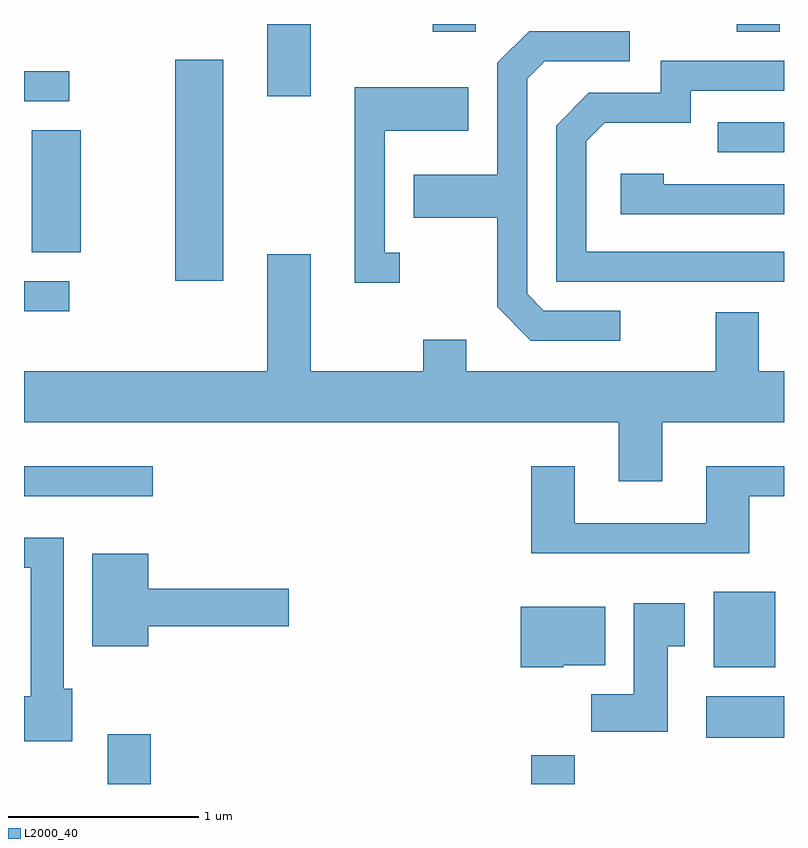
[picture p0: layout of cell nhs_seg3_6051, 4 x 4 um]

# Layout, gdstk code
import gdstk
lib = gdstk.Library(unit=1e-6, precision=1e-09)
def R(c, l, rs):  # rectangles x0, y0, x1, y1
    for r in rs: c.add(gdstk.rectangle(r[:2], r[2:], *l))
def P(c, l, *ps):  # polygons
    for p in ps: c.add(gdstk.Polygon(p, *l))
L2000_40 = (2000, 40)

nhs_seg3_6051 = lib.new_cell('nhs_seg3_6051')
R(nhs_seg3_6051, L2000_40, [(364.051,1121.892,364.279,1122.154), (366.281,1121.892,366.509,1122.044), (367.201,1122.136,367.611,1122.354), (367.241,1122.506,367.564,1122.904), (363.611,1123.406,364.288,1123.564), (363.611,1124.381,363.848,1124.539), (364.406,1124.541,364.659,1125.704), (363.651,1124.691,363.909,1125.334), (367.263,1125.216,367.611,1125.374), (363.611,1125.486,363.848,1125.644), (364.891,1125.511,365.119,1125.892), (365.761,1125.851,365.989,1125.892), (367.361,1125.851,367.589,1125.892)])
P(nhs_seg3_6051, L2000_40, [(366.748,1124.384),(366.347,1124.384),(366.259,1124.472),(366.259,1125.604),(366.352,1125.696),(366.798,1125.696),(366.798,1125.854),(366.269,1125.854),(366.101,1125.687),(366.101,1125.099),(365.661,1125.099),(365.661,1124.871),(366.101,1124.871),(366.101,1124.404),(366.279,1124.226),(366.748,1124.226)],
  [(367.611,1124.694),(366.569,1124.694),(366.569,1125.274),(366.667,1125.371),(367.119,1125.371),(367.119,1125.541),(367.611,1125.541),(367.611,1125.699),(366.961,1125.699),(366.961,1125.529),(366.584,1125.529),(366.411,1125.357),(366.411,1124.536),(367.611,1124.536)],
  [(365.588,1124.689),(365.509,1124.689),(365.509,1125.331),(365.949,1125.331),(365.949,1125.559),(365.351,1125.559),(365.351,1124.531),(365.588,1124.531)],
  [(367.611,1125.049),(366.979,1125.049),(366.979,1125.104),(366.751,1125.104),(366.751,1124.891),(367.611,1124.891)],
  [(366.969,1123.796),(367.611,1123.796),(367.611,1124.064),(367.479,1124.064),(367.479,1124.374),(367.251,1124.374),(367.251,1124.064),(365.939,1124.064),(365.939,1124.229),(365.711,1124.229),(365.711,1124.064),(365.119,1124.064),(365.119,1124.679),(364.891,1124.679),(364.891,1124.064),(363.611,1124.064),(363.611,1123.796),(366.741,1123.796),(366.741,1123.486),(366.969,1123.486)],
  [(367.429,1123.406),(367.611,1123.406),(367.611,1123.564),(367.201,1123.564),(367.201,1123.264),(366.509,1123.264),(366.509,1123.564),(366.281,1123.564),(366.281,1123.106),(367.429,1123.106)],
  [(363.864,1122.394),(363.819,1122.394),(363.819,1123.189),(363.611,1123.189),(363.611,1123.031),(363.646,1123.031),(363.646,1122.354),(363.611,1122.354),(363.611,1122.116),(363.864,1122.116)],
  [(364.264,1122.721),(365.004,1122.721),(365.004,1122.919),(364.264,1122.919),(364.264,1123.104),(363.971,1123.104),(363.971,1122.616),(364.264,1122.616)],
  [(366.999,1122.616),(367.089,1122.616),(367.089,1122.844),(366.821,1122.844),(366.821,1122.364),(366.596,1122.364),(366.596,1122.166),(366.999,1122.166)],
  [(366.45,1122.516),(366.669,1122.516),(366.669,1122.824),(366.226,1122.824),(366.226,1122.506),(366.45,1122.506)])

lib.write_gds('nhs_seg3_6051.gds')
